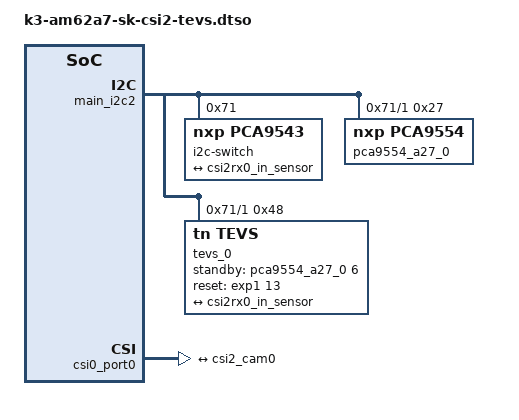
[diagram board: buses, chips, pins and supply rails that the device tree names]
// SPDX-License-Identifier: GPL-2.0
/*
 * Technexion TEVI-OV5640-*-RPI - OV5640 camera module
 *
 * Copyright (C) 2022 Texas Instruments Incorporated - https://www.ti.com/
 *
 */

/dts-v1/;
/plugin/;

#include <dt-bindings/gpio/gpio.h>

&main_i2c2 {
	#address-cells = <1>;
	#size-cells = <0>;
	status = "okay";

	i2c-switch@71 {
		compatible = "nxp,pca9543";
		#address-cells = <1>;
		#size-cells = <0>;
		reg = <0x71>;

		/* CAM port */
		i2c@1 {
			#address-cells = <1>;
			#size-cells = <0>;
			reg = <1>;

			pca9554_a27_0: pca9554@27 {
				compatible = "nxp,pca9554";
				pinctrl-names = "default";
				reg = <0x27>;
				gpio-controller;
				#gpio-cells = <2>;
				status = "okay";
				gpio-line-names = "EXPOSURE_TRIG_IN1", "FLASH_OUT1", "CAM_SHUTTER1", "XVS1",
									"CSI1_PDB", "CSI1_INT", "INFO_TRIG_IN1", "CSI1_RST_N";
			};

			tevs_0: tevs@48 {
				compatible = "tn,tevs";
				reg = <0x48>;

				standby-gpios = <&pca9554_a27_0 6 GPIO_ACTIVE_HIGH>;
				reset-gpios = <&exp1 13 GPIO_ACTIVE_HIGH>;

				data-lanes = <2>;
				data-frequency = <800>;
				pixel-rate = <41430400>;  //61430400
				continuous-clock = <0>;
				status = "okay";

				port {
					csi2_cam0: endpoint {
						remote-endpoint = <&csi2rx0_in_sensor>;
						link-frequencies = /bits/ 64 <456000000>;
						clock-lanes = <0>;
						data-lanes = <1 2 3 4>;
					};
				};
			};
		};
	};
};

&csi0_port0 {
	status = "okay";

	csi2rx0_in_sensor: endpoint {
		remote-endpoint = <&csi2_cam0>;
		bus-type = <4>; /* CSI2 DPHY. */
		clock-lanes = <0>;
		data-lanes = <1 2 3 4>;
	};
};
